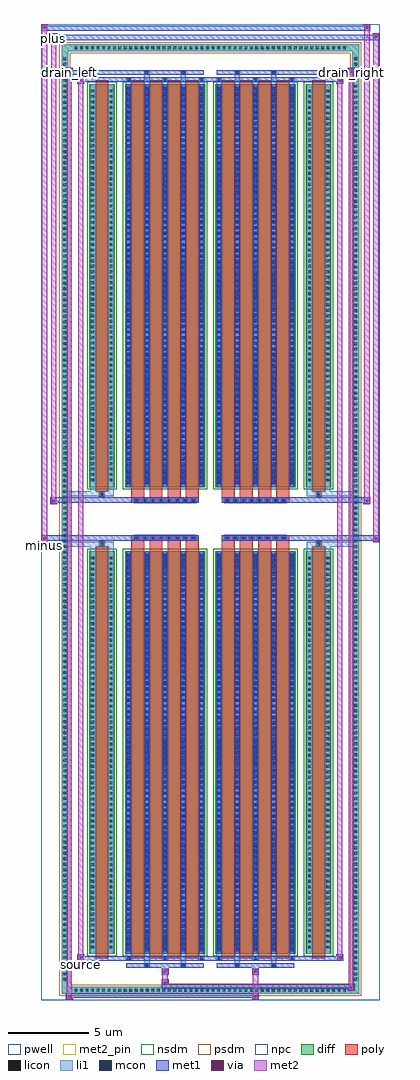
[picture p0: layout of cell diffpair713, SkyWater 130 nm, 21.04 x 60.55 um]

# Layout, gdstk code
import gdstk
lib = gdstk.Library(unit=1e-6, precision=5e-09)
def R(c, l, rs):  # rectangles x0, y0, x1, y1
    for r in rs: c.add(gdstk.rectangle(r[:2], r[2:], *l))
def A(c, l, x, y, w, h, nx, ny, dx, dy):  # array of equal rectangles
    R(c, l, [(x+i*dx, y+j*dy, x+i*dx+w, y+j*dy+h) for i in range(nx) for j in range(ny)])
def P(c, l, *ps):  # polygons
    for p in ps: c.add(gdstk.Polygon(p, *l))
pwell = (64, 44)
diff = (65, 20)
poly = (66, 20)
licon = (66, 44)
li1 = (67, 20)
mcon = (67, 44)
met1 = (68, 20)
via = (68, 44)
met2_pin = (69, 16)
met2 = (69, 20)
nsdm = (93, 44)
psdm = (94, 20)
npc = (95, 20)

diffpair713 = lib.new_cell('diffpair713')
R(diffpair713, pwell, [(-10.5,-29.84,10.5,30.71), (-7.82,-28.03,-0.01,-0.805), (0.01,-28.03,7.82,-0.805), (-7.82,0.805,-0.01,28.03), (0.01,0.805,7.82,28.03)])
A(diffpair713, diff, -8.535, -29.44, 0.41, 0.41, 50, 2, 0.34, 58.47)
A(diffpair713, diff, -9.23, -28.765, 0.41, 0.41, 1, 169, 0, 0.34)
A(diffpair713, diff, 8.82, -28.765, 0.41, 0.41, 1, 169, 0, 0.34)
R(diffpair713, diff, [(-8.535,-29.44,8.535,-29.03), (-9.23,-28.765,-8.82,28.765), (8.82,-28.765,9.23,28.765), (-7.51,-26.985,-5.93,-1.985), (-5.29,-26.985,-0.32,-1.985), (0.32,-26.985,5.29,-1.985), (5.93,-26.985,7.51,-1.985), (-7.51,1.985,-5.93,26.985), (-5.29,1.985,-0.32,26.985), (0.32,1.985,5.29,26.985), (5.93,1.985,7.51,26.985), (-8.535,29.03,8.535,29.44)])
P(diffpair713, diff, [(9.23,29.44),(-9.23,29.44),(-9.23,-29.03),(-8.82,-29.03),(-8.82,29.03),(8.82,29.03),(8.82,-29.03),(-8.82,-29.03),(-9.23,-29.03),(-9.23,-29.44),(9.23,-29.44)])
A(diffpair713, poly, -4.9, -27.235, 0.8, 25.5, 4, 2, 1.13, 28.97)
A(diffpair713, poly, 0.71, -27.235, 0.8, 25.5, 4, 2, 1.13, 28.97)
A(diffpair713, poly, -4.9, -1.735, 0.8, 0.4, 4, 2, 1.13, 3.07)
A(diffpair713, poly, 0.71, -1.735, 0.8, 0.4, 4, 2, 1.13, 3.07)
A(diffpair713, poly, -4.72, -1.335, 0.33, 0.33, 8, 2, 0.5, 2.34)
A(diffpair713, poly, 0.89, -1.335, 0.33, 0.33, 8, 2, 0.5, 2.34)
R(diffpair713, poly, [(-7.12,-27.235,-6.32,-1.735), (6.32,-27.235,7.12,-1.735), (-6.885,-1.735,-6.555,-1.405), (-6.885,-1.735,-6.555,-1.405), (6.555,-1.735,6.885,-1.405), (6.555,-1.735,6.885,-1.405), (-4.9,-1.335,-0.71,-1.005), (0.71,-1.335,4.9,-1.005), (-4.9,1.005,-0.71,1.335), (0.71,1.005,4.9,1.335), (-6.885,1.405,-6.555,1.735), (-6.885,1.405,-6.555,1.735), (6.555,1.405,6.885,1.735), (6.555,1.405,6.885,1.735), (-7.12,1.735,-6.32,27.235), (6.32,1.735,7.12,27.235)])
A(diffpair713, licon, -8.415, -29.32, 0.17, 0.17, 50, 2, 0.34, 58.47)
A(diffpair713, licon, -9.11, -28.645, 0.17, 0.17, 1, 169, 0, 0.34)
A(diffpair713, licon, 8.94, -28.645, 0.17, 0.17, 1, 169, 0, 0.34)
A(diffpair713, licon, -7.37, -26.64, 0.17, 0.17, 1, 72, 0, 0.34)
A(diffpair713, licon, -6.24, -26.64, 0.17, 0.17, 1, 72, 0, 0.34)
A(diffpair713, licon, -5.15, -26.64, 0.17, 0.17, 5, 72, 1.13, 0.34)
A(diffpair713, licon, 0.46, -26.64, 0.17, 0.17, 5, 72, 1.13, 0.34)
A(diffpair713, licon, 6.07, -26.64, 0.17, 0.17, 1, 72, 0, 0.34)
A(diffpair713, licon, 7.2, -26.64, 0.17, 0.17, 1, 72, 0, 0.34)
A(diffpair713, licon, -4.64, -1.255, 0.17, 0.17, 8, 2, 0.5, 2.34)
A(diffpair713, licon, 0.97, -1.255, 0.17, 0.17, 8, 2, 0.5, 2.34)
A(diffpair713, licon, -7.37, 2.33, 0.17, 0.17, 1, 72, 0, 0.34)
A(diffpair713, licon, -6.24, 2.33, 0.17, 0.17, 1, 72, 0, 0.34)
A(diffpair713, licon, -5.15, 2.33, 0.17, 0.17, 5, 72, 1.13, 0.34)
A(diffpair713, licon, 0.46, 2.33, 0.17, 0.17, 5, 72, 1.13, 0.34)
A(diffpair713, licon, 6.07, 2.33, 0.17, 0.17, 1, 72, 0, 0.34)
A(diffpair713, licon, 7.2, 2.33, 0.17, 0.17, 1, 72, 0, 0.34)
R(diffpair713, licon, [(-6.805,-1.655,-6.635,-1.485), (6.635,-1.655,6.805,-1.485), (-6.805,1.485,-6.635,1.655), (6.635,1.485,6.805,1.655)])
A(diffpair713, li1, -8.495, -29.4, 0.33, 0.33, 50, 2, 0.34, 58.47)
A(diffpair713, li1, -9.19, -28.725, 0.33, 0.33, 1, 169, 0, 0.34)
A(diffpair713, li1, 8.86, -28.725, 0.33, 0.33, 1, 169, 0, 0.34)
A(diffpair713, li1, -5.23, -27.36, 0.33, 0.375, 3, 2, 2.26, 54.345)
A(diffpair713, li1, -5.15, -27.36, 0.17, 0.17, 3, 2, 2.26, 54.55)
A(diffpair713, li1, 0.38, -27.36, 0.33, 0.375, 3, 2, 2.26, 54.345)
A(diffpair713, li1, 0.46, -27.36, 0.17, 0.17, 3, 2, 2.26, 54.55)
A(diffpair713, li1, -5.23, -26.985, 0.33, 25, 5, 2, 1.13, 28.97)
A(diffpair713, li1, 0.38, -26.985, 0.33, 25, 5, 2, 1.13, 28.97)
A(diffpair713, li1, -5.15, -26.81, 0.17, 0.17, 5, 69, 1.13, 0.36)
A(diffpair713, li1, -5.15, -26.81, 0.17, 24.65, 5, 2, 1.13, 28.97)
A(diffpair713, li1, 0.46, -26.81, 0.17, 0.17, 5, 69, 1.13, 0.36)
A(diffpair713, li1, 0.46, -26.81, 0.17, 24.65, 5, 2, 1.13, 28.97)
A(diffpair713, li1, -7.45, -26.72, 0.33, 0.33, 1, 72, 0, 0.34)
A(diffpair713, li1, -6.32, -26.72, 0.33, 0.33, 1, 72, 0, 0.34)
A(diffpair713, li1, -5.23, -26.72, 0.33, 0.33, 5, 72, 1.13, 0.34)
A(diffpair713, li1, 0.38, -26.72, 0.33, 0.33, 5, 72, 1.13, 0.34)
A(diffpair713, li1, 5.99, -26.72, 0.33, 0.33, 1, 72, 0, 0.34)
A(diffpair713, li1, 7.12, -26.72, 0.33, 0.33, 1, 72, 0, 0.34)
A(diffpair713, li1, -4.72, -1.335, 0.33, 0.33, 8, 2, 0.5, 2.34)
A(diffpair713, li1, 0.89, -1.335, 0.33, 0.33, 8, 2, 0.5, 2.34)
A(diffpair713, li1, -5.15, 2.16, 0.17, 0.17, 5, 69, 1.13, 0.36)
A(diffpair713, li1, 0.46, 2.16, 0.17, 0.17, 5, 69, 1.13, 0.36)
A(diffpair713, li1, -7.45, 2.25, 0.33, 0.33, 1, 72, 0, 0.34)
A(diffpair713, li1, -6.32, 2.25, 0.33, 0.33, 1, 72, 0, 0.34)
A(diffpair713, li1, -5.23, 2.25, 0.33, 0.33, 5, 72, 1.13, 0.34)
A(diffpair713, li1, 0.38, 2.25, 0.33, 0.33, 5, 72, 1.13, 0.34)
A(diffpair713, li1, 5.99, 2.25, 0.33, 0.33, 1, 72, 0, 0.34)
A(diffpair713, li1, 7.12, 2.25, 0.33, 0.33, 1, 72, 0, 0.34)
R(diffpair713, li1, [(-9.23,-29.44,-8.82,-29.03), (-9.23,-29.44,-8.82,-29.03), (-8.82,-29.44,8.82,-29.03), (8.82,-29.44,9.23,-29.03), (8.82,-29.44,9.23,-29.03), (-9.23,-29.03,-8.82,29.03), (8.82,-29.03,9.23,29.03), (-4.1,-27.79,-3.77,-26.985), (-4.02,-27.79,-3.85,-27.62), (-1.84,-27.79,-1.51,-26.985), (-1.76,-27.79,-1.59,-27.62), (1.51,-27.79,1.84,-26.985), (1.59,-27.79,1.76,-27.62), (3.77,-27.79,4.1,-26.985), (3.85,-27.79,4.02,-27.62), (-7.45,-26.985,-7.12,-1.985), (-6.32,-26.985,-5.99,-1.985), (5.99,-26.985,6.32,-1.985), (7.12,-26.985,7.45,-1.985), (-7.45,-1.985,-7.12,-1.405), (-6.32,-1.985,-5.99,-1.405), (5.99,-1.985,6.32,-1.405), (7.12,-1.985,7.45,-1.405), (-9.23,-1.735,-6.885,-1.405), (-7.45,-1.735,-6.885,-1.405), (-6.885,-1.735,-6.555,-1.405), (-6.555,-1.735,-5.99,-1.405), (5.99,-1.735,6.555,-1.405), (6.555,-1.735,6.885,-1.405), (6.555,-1.735,9.23,-1.405), (6.885,-1.735,7.45,-1.405), (-9.23,1.405,-6.885,1.735), (-7.45,1.405,-6.885,1.735), (-7.45,1.405,-7.12,1.985), (-6.885,1.405,-6.555,1.735), (-6.555,1.405,-5.99,1.735), (-6.32,1.405,-5.99,1.985), (5.99,1.405,6.555,1.735), (5.99,1.405,6.32,1.985), (6.555,1.405,6.885,1.735), (6.555,1.405,9.23,1.735), (6.885,1.405,7.45,1.735), (7.12,1.405,7.45,1.985), (-7.45,1.985,-7.12,26.985), (-6.32,1.985,-5.99,26.985), (5.99,1.985,6.32,26.985), (7.12,1.985,7.45,26.985), (-4.1,26.985,-3.77,27.79), (-1.84,26.985,-1.51,27.79), (1.51,26.985,1.84,27.79), (3.77,26.985,4.1,27.79), (-4.02,27.62,-3.85,27.79), (-1.76,27.62,-1.59,27.79), (1.59,27.62,1.76,27.79), (3.85,27.62,4.02,27.79), (-9.23,29.03,-8.82,29.44), (-9.23,29.03,-8.82,29.44), (-8.82,29.03,8.82,29.44), (8.82,29.03,9.23,29.44), (8.82,29.03,9.23,29.44)])
A(diffpair713, mcon, -5.15, -27.36, 0.17, 0.17, 3, 2, 2.26, 54.55)
A(diffpair713, mcon, 0.46, -27.36, 0.17, 0.17, 3, 2, 2.26, 54.55)
A(diffpair713, mcon, -5.15, -26.81, 0.17, 0.17, 5, 69, 1.13, 0.36)
A(diffpair713, mcon, 0.46, -26.81, 0.17, 0.17, 5, 69, 1.13, 0.36)
A(diffpair713, mcon, -4.64, -1.255, 0.17, 0.17, 8, 2, 0.5, 2.34)
A(diffpair713, mcon, 0.97, -1.255, 0.17, 0.17, 8, 2, 0.5, 2.34)
A(diffpair713, mcon, -5.15, 2.16, 0.17, 0.17, 5, 69, 1.13, 0.36)
A(diffpair713, mcon, 0.46, 2.16, 0.17, 0.17, 5, 69, 1.13, 0.36)
R(diffpair713, mcon, [(-4.02,-27.79,-3.85,-27.62), (-1.76,-27.79,-1.59,-27.62), (1.59,-27.79,1.76,-27.62), (3.85,-27.79,4.02,-27.62), (-4.02,27.62,-3.85,27.79), (-1.76,27.62,-1.59,27.79), (1.59,27.62,1.76,27.79), (3.85,27.62,4.02,27.79)])
A(diffpair713, met1, -5.21, -27.42, 0.29, 0.29, 3, 2, 2.26, 54.55)
A(diffpair713, met1, 0.4, -27.42, 0.29, 0.29, 3, 2, 2.26, 54.55)
A(diffpair713, met1, -5.21, -26.985, 0.29, 25, 5, 2, 1.13, 28.97)
A(diffpair713, met1, 0.4, -26.985, 0.29, 25, 5, 2, 1.13, 28.97)
A(diffpair713, met1, -5.21, -26.87, 0.29, 0.29, 5, 69, 1.13, 0.36)
A(diffpair713, met1, 0.4, -26.87, 0.29, 0.29, 5, 69, 1.13, 0.36)
A(diffpair713, met1, -4.7, -1.315, 0.29, 0.29, 8, 2, 0.5, 2.34)
A(diffpair713, met1, 0.91, -1.315, 0.29, 0.29, 8, 2, 0.5, 2.34)
A(diffpair713, met1, -5.21, 2.1, 0.29, 0.29, 5, 69, 1.13, 0.36)
A(diffpair713, met1, 0.4, 2.1, 0.29, 0.29, 5, 69, 1.13, 0.36)
R(diffpair713, met1, [(-8.96,-29.84,-8.53,-29.41), (2.59,-29.84,3.02,-29.41), (-8.96,-29.7,3.02,-29.41), (8.53,-29.27,8.96,-28.84), (-3.02,-29.13,8.96,-28.84), (-3.02,-28.99,-2.59,-28.56), (-3.02,-28.28,-2.59,-27.85), (2.59,-28.28,3.02,-27.85), (-5.21,-27.85,-0.4,-27.56), (-4.08,-27.85,-3.79,-27.56), (-1.82,-27.85,-1.53,-27.56), (0.4,-27.85,5.21,-27.56), (1.53,-27.85,1.82,-27.56), (3.79,-27.85,4.08,-27.56), (-8.25,-27.42,-7.82,-26.99), (-8.25,-27.42,-5.21,-27.13), (-5.21,-27.42,-0.4,-27.13), (-0.4,-27.42,0.4,-27.13), (0.4,-27.42,5.21,-27.13), (5.21,-27.42,8.25,-27.13), (7.82,-27.42,8.25,-26.99), (-10.5,-1.435,-10.07,-1.005), (10.07,-1.435,10.5,-1.005), (-10.5,-1.335,-0.71,-1.005), (-4.9,-1.335,-0.71,-1.005), (0.71,-1.335,4.9,-1.005), (0.71,-1.335,10.5,-1.005), (-9.93,0.905,-9.5,1.335), (9.5,0.905,9.93,1.335), (-9.93,1.005,-4.9,1.335), (-4.9,1.005,-0.71,1.335), (0.71,1.005,4.9,1.335), (4.9,1.005,9.93,1.335), (-8.25,26.99,-7.82,27.42), (7.82,26.99,8.25,27.42), (-8.25,27.13,-5.21,27.42), (-5.21,27.13,-0.4,27.42), (-0.4,27.13,0.4,27.42), (0.4,27.13,5.21,27.42), (5.21,27.13,8.25,27.42), (-8.96,27.56,-8.53,27.99), (-8.96,27.56,-5.21,27.85), (-5.21,27.56,-0.4,27.85), (-4.08,27.56,-3.79,27.85), (-1.82,27.56,-1.53,27.85), (0.4,27.56,5.21,27.85), (1.53,27.56,1.82,27.85), (3.79,27.56,4.08,27.85), (5.21,27.56,8.96,27.85), (8.53,27.56,8.96,27.99), (-9.93,29.71,-9.5,30.14), (-9.93,29.71,-7.82,30.04), (-7.82,29.71,7.82,30.04), (7.82,29.71,10.5,30.04), (10.07,29.71,10.5,30.14), (-10.5,30.28,-10.07,30.71), (-10.5,30.28,-7.82,30.61), (-7.82,30.28,7.82,30.61), (7.82,30.28,9.93,30.61), (9.5,30.28,9.93,30.71)])
R(diffpair713, via, [(-8.82,-29.7,-8.67,-29.55), (2.73,-29.7,2.88,-29.55), (8.67,-29.13,8.82,-28.98), (-2.88,-28.85,-2.73,-28.7), (-2.88,-28.14,-2.73,-27.99), (2.73,-28.14,2.88,-27.99), (-8.11,-27.28,-7.96,-27.13), (7.96,-27.28,8.11,-27.13), (-10.36,-1.295,-10.21,-1.145), (10.21,-1.295,10.36,-1.145), (-9.79,1.045,-9.64,1.195), (9.64,1.045,9.79,1.195), (-8.11,27.13,-7.96,27.28), (7.96,27.13,8.11,27.28), (-8.82,27.7,-8.67,27.85), (8.67,27.7,8.82,27.85), (-9.79,29.85,-9.64,30), (10.21,29.85,10.36,30), (-10.36,30.42,-10.21,30.57), (9.64,30.42,9.79,30.57)])
R(diffpair713, met2_pin, [(-8.285,-27.87,-7.785,-27.37), (-10.535,-1.885,-10.035,-1.385), (-8.995,27.44,-8.495,27.94), (8.495,27.44,8.995,27.94), (-9.965,29.59,-9.465,30.09)])
R(diffpair713, met2, [(-8.91,-29.79,-8.58,-29.46), (-8.91,-29.79,-8.58,27.94), (2.64,-29.79,2.97,-29.46), (2.64,-29.46,2.97,-28.23), (8.58,-29.22,8.91,-28.89), (8.58,-29.22,8.91,27.94), (-2.97,-28.94,-2.64,-28.61), (-2.97,-28.61,-2.64,-28.23), (-2.97,-28.23,-2.64,-27.9), (2.64,-28.23,2.97,-27.9), (-8.2,-27.37,-7.87,-27.04), (-8.2,-27.37,-7.87,27.37), (7.87,-27.37,8.2,-27.04), (7.87,-27.37,8.2,27.37), (-10.45,-1.385,-10.12,-1.055), (-10.45,-1.385,-10.12,30.66), (10.12,-1.385,10.45,-1.055), (10.12,-1.385,10.45,30.09), (-9.88,0.955,-9.55,1.285), (-9.88,0.955,-9.55,30.09), (9.55,0.955,9.88,1.285), (9.55,0.955,9.88,30.66), (-8.2,27.04,-7.87,27.37), (7.87,27.04,8.2,27.37), (-8.91,27.61,-8.58,27.94), (8.58,27.61,8.91,27.94), (-9.88,29.76,-9.55,30.09), (10.12,29.76,10.45,30.09), (-10.45,30.33,-10.12,30.66), (9.55,30.33,9.88,30.66)])
P(diffpair713, met2, [(10.45,-1.385),(10.45,-1.385),(10.45,-1.055),(10.45,-1.055)],
  [(10.45,29.76),(10.45,29.76),(10.45,30.09),(10.45,30.09)],
  [(-10.12,-1.385),(-10.12,-1.385),(-10.12,-1.055),(-10.12,-1.055)],
  [(-10.12,30.33),(-10.12,30.33),(-10.12,30.66),(-10.12,30.66)],
  [(9.88,0.955),(9.88,0.955),(9.88,1.285),(9.88,1.285)],
  [(9.88,30.33),(9.88,30.33),(9.88,30.66),(9.88,30.66)],
  [(-9.55,0.955),(-9.55,0.955),(-9.55,1.285),(-9.55,1.285)],
  [(-9.55,29.76),(-9.55,29.76),(-9.55,30.09),(-9.55,30.09)],
  [(-8.58,-29.79),(-8.58,-29.79),(-8.58,-29.46),(-8.58,-29.46)],
  [(-8.58,27.61),(-8.58,27.61),(-8.58,27.94),(-8.58,27.94)],
  [(8.91,-29.22),(8.91,-29.22),(8.91,-28.89),(8.91,-28.89)],
  [(8.91,27.61),(8.91,27.61),(8.91,27.94),(8.91,27.94)],
  [(-7.87,-27.37),(-7.87,-27.37),(-7.87,-27.04),(-7.87,-27.04)],
  [(-7.87,27.04),(-7.87,27.04),(-7.87,27.37),(-7.87,27.37)],
  [(8.2,-27.37),(8.2,-27.37),(8.2,-27.04),(8.2,-27.04)],
  [(8.2,27.04),(8.2,27.04),(8.2,27.37),(8.2,27.37)])
R(diffpair713, nsdm, [(-7.64,-27.115,-5.8,-1.855), (-5.42,-27.115,-0.19,-1.855), (0.19,-27.115,5.42,-1.855), (5.8,-27.115,7.64,-1.855), (-7.64,1.855,-5.8,27.115), (-5.42,1.855,-0.19,27.115), (0.19,1.855,5.42,27.115), (5.8,1.855,7.64,27.115)])
P(diffpair713, psdm, [(9.36,29.57),(-9.36,29.57),(-9.36,-28.9),(-8.69,-28.9),(-8.69,28.9),(8.69,28.9),(8.69,-28.9),(-8.69,-28.9),(-9.36,-28.9),(-9.36,-29.57),(9.36,-29.57)])
A(diffpair713, npc, -4.74, -1.355, 0.37, 0.37, 8, 2, 0.5, 2.34)
A(diffpair713, npc, 0.87, -1.355, 0.37, 0.37, 8, 2, 0.5, 2.34)
R(diffpair713, npc, [(-6.905,-1.755,-6.535,-1.385), (6.535,-1.755,6.905,-1.385), (-4.74,-1.355,-3.87,-0.985), (-4.74,-1.355,-3.87,-0.985), (-4.24,-1.355,-3.37,-0.985), (-4.24,-1.355,-3.37,-0.985), (-3.74,-1.355,-2.87,-0.985), (-3.74,-1.355,-2.87,-0.985), (-3.24,-1.355,-2.37,-0.985), (-3.24,-1.355,-2.37,-0.985), (-2.74,-1.355,-1.87,-0.985), (-2.74,-1.355,-1.87,-0.985), (-2.24,-1.355,-1.37,-0.985), (-2.24,-1.355,-1.37,-0.985), (-1.74,-1.355,-0.87,-0.985), (-1.74,-1.355,-0.87,-0.985), (0.87,-1.355,1.74,-0.985), (0.87,-1.355,1.74,-0.985), (1.37,-1.355,2.24,-0.985), (1.37,-1.355,2.24,-0.985), (1.87,-1.355,2.74,-0.985), (1.87,-1.355,2.74,-0.985), (2.37,-1.355,3.24,-0.985), (2.37,-1.355,3.24,-0.985), (2.87,-1.355,3.74,-0.985), (2.87,-1.355,3.74,-0.985), (3.37,-1.355,4.24,-0.985), (3.37,-1.355,4.24,-0.985), (3.87,-1.355,4.74,-0.985), (3.87,-1.355,4.74,-0.985), (-4.74,0.985,-3.87,1.355), (-4.74,0.985,-3.87,1.355), (-4.24,0.985,-3.37,1.355), (-4.24,0.985,-3.37,1.355), (-3.74,0.985,-2.87,1.355), (-3.74,0.985,-2.87,1.355), (-3.24,0.985,-2.37,1.355), (-3.24,0.985,-2.37,1.355), (-2.74,0.985,-1.87,1.355), (-2.74,0.985,-1.87,1.355), (-2.24,0.985,-1.37,1.355), (-2.24,0.985,-1.37,1.355), (-1.74,0.985,-0.87,1.355), (-1.74,0.985,-0.87,1.355), (0.87,0.985,1.74,1.355), (0.87,0.985,1.74,1.355), (1.37,0.985,2.24,1.355), (1.37,0.985,2.24,1.355), (1.87,0.985,2.74,1.355), (1.87,0.985,2.74,1.355), (2.37,0.985,3.24,1.355), (2.37,0.985,3.24,1.355), (2.87,0.985,3.74,1.355), (2.87,0.985,3.74,1.355), (3.37,0.985,4.24,1.355), (3.37,0.985,4.24,1.355), (3.87,0.985,4.74,1.355), (3.87,0.985,4.74,1.355), (-6.905,1.385,-6.535,1.755), (6.535,1.385,6.905,1.755)])
diffpair713.add(gdstk.Label('minus', (-10.285,-1.635), layer=69, texttype=5))
diffpair713.add(gdstk.Label('drain_right', (8.745,27.69), layer=69, texttype=5))
diffpair713.add(gdstk.Label('drain_left', (-8.745,27.69), layer=69, texttype=5))
diffpair713.add(gdstk.Label('source', (-8.035,-27.62), layer=69, texttype=5))
diffpair713.add(gdstk.Label('plus', (-9.715,29.84), layer=69, texttype=5))

lib.write_gds('diffpair713.gds')
